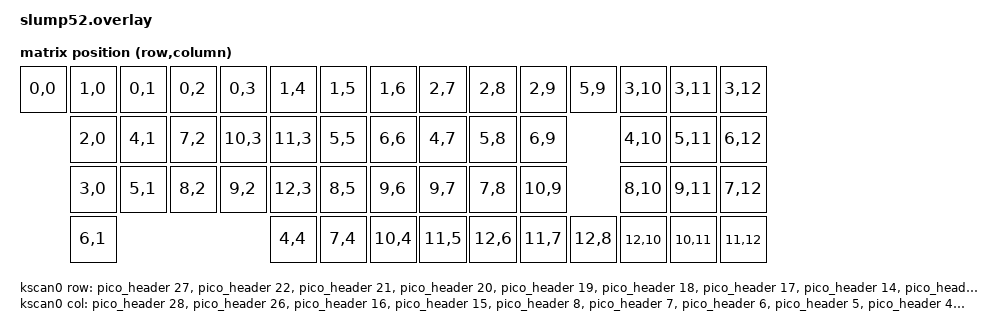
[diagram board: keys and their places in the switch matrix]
/*
 * Copyright (c) 2020 The ZMK Contributors
 *
 * SPDX-License-Identifier: MIT
 */

#include <dt-bindings/zmk/matrix_transform.h>
#include <physical_layouts.dtsi>
#include "slump52-layouts.dtsi"

/ {
    kscan0: kscan0 {
        compatible = "zmk,kscan-gpio-matrix";
        diode-direction = "col2row";
        wakeup-source;

        col-gpios
            = <&pico_header 28 (GPIO_ACTIVE_LOW | GPIO_OPEN_DRAIN)>
            , <&pico_header 26 (GPIO_ACTIVE_LOW | GPIO_OPEN_DRAIN)>
            , <&pico_header 16 (GPIO_ACTIVE_LOW | GPIO_OPEN_DRAIN)>
            , <&pico_header 15 (GPIO_ACTIVE_LOW | GPIO_OPEN_DRAIN)>
            , <&pico_header 8 (GPIO_ACTIVE_LOW | GPIO_OPEN_DRAIN)>
            , <&pico_header 7 (GPIO_ACTIVE_LOW | GPIO_OPEN_DRAIN)>
            , <&pico_header 6 (GPIO_ACTIVE_LOW | GPIO_OPEN_DRAIN)>
            , <&pico_header 5 (GPIO_ACTIVE_LOW | GPIO_OPEN_DRAIN)>
            , <&pico_header 4 (GPIO_ACTIVE_LOW | GPIO_OPEN_DRAIN)>
            , <&pico_header 3 (GPIO_ACTIVE_LOW | GPIO_OPEN_DRAIN)>
            , <&pico_header 2 (GPIO_ACTIVE_LOW | GPIO_OPEN_DRAIN)>
            , <&pico_header 1 (GPIO_ACTIVE_LOW | GPIO_OPEN_DRAIN)>
            , <&pico_header 0 (GPIO_ACTIVE_LOW | GPIO_OPEN_DRAIN)>
            ;

        row-gpios
            = <&pico_header 27 (GPIO_ACTIVE_LOW | GPIO_PULL_UP)>
            , <&pico_header 22 (GPIO_ACTIVE_LOW | GPIO_PULL_UP)>
            , <&pico_header 21 (GPIO_ACTIVE_LOW | GPIO_PULL_UP)>
            , <&pico_header 20 (GPIO_ACTIVE_LOW | GPIO_PULL_UP)>
            , <&pico_header 19 (GPIO_ACTIVE_LOW | GPIO_PULL_UP)>
            , <&pico_header 18 (GPIO_ACTIVE_LOW | GPIO_PULL_UP)>
            , <&pico_header 17 (GPIO_ACTIVE_LOW | GPIO_PULL_UP)>
            , <&pico_header 14 (GPIO_ACTIVE_LOW | GPIO_PULL_UP)>
            , <&pico_header 13 (GPIO_ACTIVE_LOW | GPIO_PULL_UP)>
            , <&pico_header 12 (GPIO_ACTIVE_LOW | GPIO_PULL_UP)>
            , <&pico_header 11 (GPIO_ACTIVE_LOW | GPIO_PULL_UP)>
            , <&pico_header 10 (GPIO_ACTIVE_LOW | GPIO_PULL_UP)>
            , <&pico_header 9 (GPIO_ACTIVE_LOW | GPIO_PULL_UP)>
            ;
    };
};

/*
 * Same logical rows as used in the DTSI file:
 *
 * Esc 	Q 	W 	E 	R 	T 				Y 	U 	I 	O 	P 	+= 	7 	8 	9
 * ---	A 	S 	D 	F 	G 				H 	J 	K 	L 	- 		4 	5 	6
 * ---	Z 	X 	C 	V 	B 				N 	M 	, 	. 	/ 		1 	2 	3
 * ---	Tab					T1	T2	T3	← 	↓ 	↑ 	→ 	* 		0		Enter
 *
 */

/ {
    default_transform: keymap_transform0 {
        compatible = "zmk,matrix-transform";
        columns = <13>;
        rows = <13>;
        map = <
            RC(0,0) RC(1,0) RC(0,1) RC(0,2) RC(0,3)  RC(1,4)                          RC(1,5)  RC(1,6)  RC(2,7)  RC(2,8)  RC(2,9) RC(5,9) RC(3,10) RC(3,11) RC(3,12)
                    RC(2,0) RC(4,1) RC(7,2) RC(10,3) RC(11,3)                         RC(5,5)  RC(6,6)  RC(4,7)  RC(5,8)  RC(6,9)         RC(4,10) RC(5,11) RC(6,12)
                    RC(3,0) RC(5,1) RC(8,2) RC(9,2)  RC(12,3)                         RC(8,5)  RC(9,6)  RC(9,7)  RC(7,8)  RC(10,9)        RC(8,10) RC(9,11) RC(7,12)
                    RC(6,1)                                 RC(4,4) RC(7,4) RC(10,4)  RC(11,5) RC(12,6) RC(11,7) RC(12,8) RC(12,10)       RC(10,11)         RC(11,12)
        >;
    };
};

/ {
    physical_layout0: physical_layout_0 { // First physical layout, use different naming for other layouts
        compatible = "zmk,physical-layout";
        display-name = "Default Layout";
        kscan = <&kscan0>; // Label of the kscan node, optional if all layouts use the same
        transform = <&default_transform>; // Label of the matrix transform for this layout
    };
};

/ {
    chosen {
        zmk,physical-layout = &physical_layout0;
        // Other chosen items
    };
};
